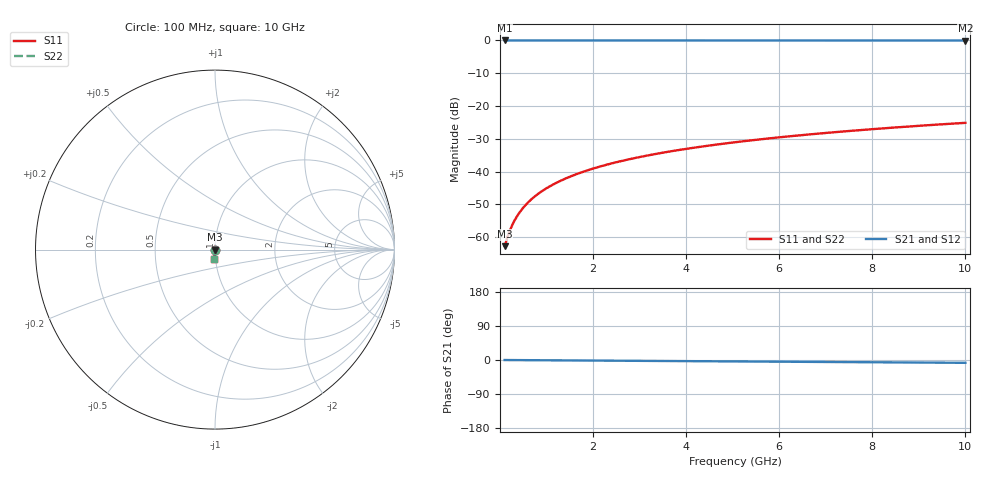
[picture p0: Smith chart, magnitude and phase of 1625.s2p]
# Hz S RI R 50.00
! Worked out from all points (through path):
!   100 points, 100 MHz to 10 GHz, reference 50 ohm
!   highest |S21| = 0.00 dB at 100 MHz (marker M1); lowest = 0.0 dB at 10 GHz (marker M2)
!   group delay of S21, straight-line fit = 2.07 ps
!   lowest |S11| = -62.8 dB at 100 MHz (marker M3), VSWR 1.00, Z = 50 - j0.0555 ohm
!   |S11| at or under -10 dB: start of sweep to end of sweep
!   |S22| runs from -62.8 to -25.1 dB; largest |S21 - S12| = 0
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1e8  0.000469 -0.000554  0.9995 -0.0013  0.9995 -0.0013  0.000469 -0.000554
2e8  0.000469 -0.00111  0.9995 -0.00259  0.9995 -0.00259  0.000469 -0.00111
3e8  0.000467 -0.00166  0.9995 -0.00389  0.9995 -0.00389  0.000467 -0.00166
4e8  0.000463 -0.00222  0.9995 -0.00518  0.9995 -0.00518  0.000463 -0.00222
5e8  0.000457 -0.00277  0.9995 -0.00648  0.9995 -0.00648  0.000457 -0.00277
6e8  0.00045 -0.00332  0.9995 -0.00778  0.9995 -0.00778  0.00045 -0.00332
7e8  0.000441 -0.00388  0.9995 -0.00907  0.9995 -0.00907  0.000441 -0.00388
8e8  0.000431 -0.00443  0.9994 -0.0104  0.9994 -0.0104  0.000431 -0.00443
9e8  0.000419 -0.00499  0.9994 -0.0117  0.9994 -0.0117  0.000419 -0.00499
1.1e9  0.00039 -0.00609  0.9994 -0.0143  0.9994 -0.0143  0.00039 -0.00609
1.4e9  0.000337 -0.00776  0.9993 -0.0181  0.9993 -0.0181  0.000337 -0.00776
1.8e9  0.000245 -0.00997  0.9992 -0.0233  0.9992 -0.0233  0.000245 -0.00997
2.1e9  0.00016 -0.0116  0.999 -0.0272  0.999 -0.0272  0.00016 -0.0116
2.5e9  2.74e-05 -0.0138  0.9989 -0.0324  0.9989 -0.0324  2.74e-05 -0.0138
2.9e9  -0.000129 -0.0161  0.9986 -0.0376  0.9986 -0.0376  -0.000129 -0.0161
3.4e9  -0.000356 -0.0188  0.9983 -0.0441  0.9983 -0.0441  -0.000356 -0.0188
4.2e9  -0.000794 -0.0232  0.9977 -0.0544  0.9977 -0.0544  -0.000794 -0.0232
5.1e9  -0.0014 -0.0282  0.9969 -0.0661  0.9969 -0.0661  -0.0014 -0.0282
5.9e9  -0.00203 -0.0326  0.996 -0.0764  0.996 -0.0764  -0.00203 -0.0326
6.7e9  -0.00276 -0.037  0.995 -0.0867  0.995 -0.0867  -0.00276 -0.037
8.4e9  -0.0046 -0.0462  0.9924 -0.1087  0.9924 -0.1087  -0.0046 -0.0462
1e10  -0.00671 -0.0549  0.9894 -0.1292  0.9894 -0.1292  -0.00671 -0.0549
